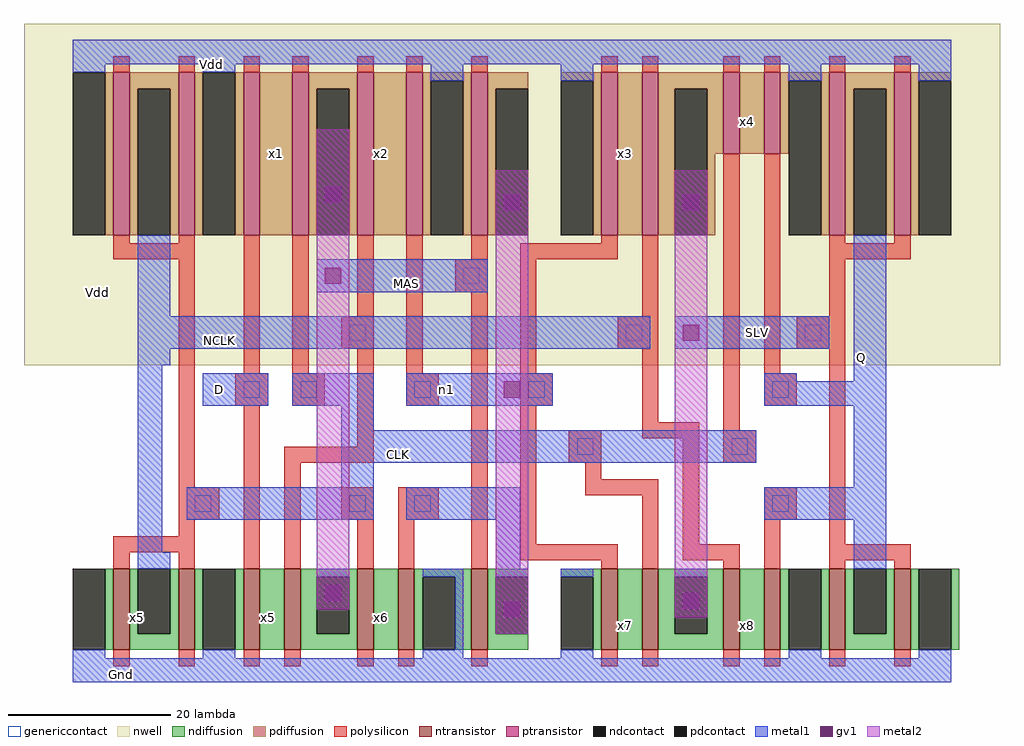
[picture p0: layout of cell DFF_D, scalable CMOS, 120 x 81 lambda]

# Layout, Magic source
magic
tech scmos
<< nwell >>
rect -12 39 108 81
<< ntransistor >>
rect -1 4 1 14
rect 7 4 9 14
rect 15 4 17 14
rect 20 4 22 14
rect 29 4 31 14
rect 34 4 36 14
rect 43 4 45 14
rect 59 4 61 14
rect 64 4 66 14
rect 74 4 76 14
rect 79 4 81 14
rect 87 4 89 14
rect 95 4 97 14
<< ptransistor >>
rect -1 55 1 75
rect 7 55 9 75
rect 15 55 17 75
rect 21 55 23 75
rect 29 55 31 75
rect 35 55 37 75
rect 43 55 45 75
rect 59 55 61 75
rect 64 55 66 75
rect 74 65 76 75
rect 79 65 81 75
rect 87 55 89 75
rect 95 55 97 75
<< ndiffusion >>
rect -2 4 -1 14
rect 1 6 2 14
rect 6 6 7 14
rect 1 4 7 6
rect 9 4 10 14
rect 14 4 15 14
rect 17 4 20 14
rect 22 13 29 14
rect 22 6 24 13
rect 28 6 29 13
rect 22 4 29 6
rect 31 4 34 14
rect 36 13 43 14
rect 36 4 37 13
rect 41 4 43 13
rect 45 13 50 14
rect 45 6 46 13
rect 45 4 50 6
rect 54 13 59 14
rect 58 4 59 13
rect 61 4 64 14
rect 66 13 74 14
rect 66 6 68 13
rect 72 6 74 13
rect 66 4 74 6
rect 76 4 79 14
rect 81 4 82 14
rect 86 4 87 14
rect 89 6 90 14
rect 94 6 95 14
rect 89 4 95 6
rect 97 4 98 14
rect 102 4 103 14
<< pdiffusion >>
rect -2 55 -1 75
rect 1 73 7 75
rect 1 55 2 73
rect 6 55 7 73
rect 9 55 10 75
rect 14 55 15 75
rect 17 55 21 75
rect 23 73 29 75
rect 23 55 24 73
rect 28 55 29 73
rect 31 55 35 75
rect 37 74 43 75
rect 37 55 38 74
rect 42 55 43 74
rect 45 73 50 75
rect 45 55 46 73
rect 54 74 59 75
rect 58 55 59 74
rect 61 55 64 75
rect 66 73 74 75
rect 66 55 68 73
rect 72 65 74 73
rect 76 65 79 75
rect 81 74 87 75
rect 81 65 82 74
rect 72 55 73 65
rect 86 55 87 74
rect 89 73 95 75
rect 89 55 90 73
rect 94 55 95 73
rect 97 74 102 75
rect 97 55 98 74
<< ndcontact >>
rect -6 4 -2 14
rect 2 6 6 14
rect 10 4 14 14
rect 24 6 28 13
rect 37 4 41 13
rect 46 6 50 13
rect 54 4 58 13
rect 68 6 72 13
rect 82 4 86 14
rect 90 6 94 14
rect 98 4 102 14
<< pdcontact >>
rect -6 55 -2 75
rect 2 55 6 73
rect 10 55 14 75
rect 24 55 28 73
rect 38 55 42 74
rect 46 55 50 73
rect 54 55 58 74
rect 68 55 72 73
rect 82 55 86 74
rect 90 55 94 73
rect 98 55 102 74
<< polysilicon >>
rect -1 75 1 77
rect 7 75 9 77
rect 15 75 17 77
rect 21 75 23 77
rect 29 75 31 77
rect 35 75 37 77
rect 43 75 45 77
rect 59 75 61 77
rect 64 75 66 77
rect 74 75 76 77
rect 79 75 81 77
rect 87 75 89 77
rect 95 75 97 77
rect -1 54 1 55
rect 7 54 9 55
rect -1 52 9 54
rect 7 24 9 52
rect 15 38 17 55
rect 21 38 23 55
rect 29 45 31 55
rect 27 41 31 45
rect 14 34 18 38
rect 21 34 25 38
rect 7 20 12 24
rect 7 18 9 20
rect -1 16 9 18
rect -1 14 1 16
rect 7 14 9 16
rect 15 14 17 34
rect 29 29 31 41
rect 35 38 37 55
rect 43 52 45 55
rect 59 54 61 55
rect 41 48 45 52
rect 35 34 39 38
rect 20 27 31 29
rect 20 14 22 27
rect 27 20 31 24
rect 29 14 31 20
rect 34 20 39 24
rect 34 14 36 20
rect 43 14 45 48
rect 49 52 61 54
rect 49 38 51 52
rect 64 45 66 55
rect 61 41 66 45
rect 49 34 53 38
rect 49 17 51 34
rect 64 32 66 41
rect 55 27 59 31
rect 64 30 71 32
rect 57 25 59 27
rect 57 23 66 25
rect 49 15 61 17
rect 59 14 61 15
rect 64 14 66 23
rect 69 17 71 30
rect 74 31 76 65
rect 79 38 81 65
rect 87 54 89 55
rect 95 54 97 55
rect 87 52 97 54
rect 87 45 89 52
rect 83 41 89 45
rect 79 34 83 38
rect 74 27 78 31
rect 79 20 83 24
rect 69 15 76 17
rect 74 14 76 15
rect 79 14 81 20
rect 87 17 89 41
rect 87 15 97 17
rect 87 14 89 15
rect 95 14 97 15
rect -1 2 1 4
rect 7 2 9 4
rect 15 2 17 4
rect 20 2 22 4
rect 29 2 31 4
rect 34 2 36 4
rect 43 2 45 4
rect 59 2 61 4
rect 64 2 66 4
rect 74 2 76 4
rect 79 2 81 4
rect 87 2 89 4
rect 95 2 97 4
<< genericcontact >>
rect 42 49 44 51
rect 28 42 30 44
rect 62 42 64 44
rect 84 42 86 44
rect 15 35 17 37
rect 22 35 24 37
rect 36 35 38 37
rect 50 35 52 37
rect 80 35 82 37
rect 56 28 58 30
rect 75 28 77 30
rect 9 21 11 23
rect 28 21 30 23
rect 36 21 38 23
rect 80 21 82 23
<< metal1 >>
rect -6 76 102 79
rect -6 75 -2 76
rect 10 75 14 76
rect 38 74 42 76
rect 54 74 58 76
rect 82 74 86 76
rect 98 74 102 76
rect 2 45 6 55
rect 24 48 45 52
rect 2 41 65 45
rect 68 41 87 45
rect 2 39 6 41
rect 2 16 5 39
rect 10 34 18 38
rect 21 34 31 38
rect 35 34 53 38
rect 79 37 83 38
rect 90 37 94 55
rect 79 34 94 37
rect 27 31 31 34
rect 27 27 78 31
rect 27 24 31 27
rect 90 24 94 34
rect 8 20 31 24
rect 35 20 49 24
rect 79 20 94 24
rect 2 14 6 16
rect 46 14 49 20
rect 90 14 94 20
rect -6 3 -2 4
rect 24 13 28 14
rect 37 13 42 14
rect 10 3 14 4
rect 41 4 42 13
rect 46 13 50 14
rect 54 13 58 14
rect 37 3 42 4
rect 68 13 72 14
rect 54 3 58 4
rect 82 3 86 4
rect 98 3 102 4
rect -6 0 102 3
<< metal2 >>
rect 24 9 28 68
rect 46 6 50 63
rect 68 8 72 63
<< gv1 >>
rect 25 59 27 61
rect 47 58 49 60
rect 69 58 71 60
rect 25 49 27 51
rect 69 42 71 44
rect 47 35 49 37
rect 25 10 27 12
rect 47 8 49 10
rect 69 9 71 11
<< labels >>
rlabel ndiffusion s 18 8 18 8 2 x5
rlabel ndiffusion s 32 8 32 8 2 x6
rlabel ndiffusion s 62 7 62 7 2 x7
rlabel ndiffusion s 77 7 77 7 2 x8
rlabel ndiffusion s 2 8 2 8 2 x5
rlabel metal1 s 34 28 34 28 2 CLK
port 3 ne
rlabel metal1 s 12 36 12 36 2 D
port 2 ne
rlabel metal1 91 40 91 40 2 Q
port 1 ne
rlabel metal1 12 42 12 42 2 NCLK
rlabel metal1 s 35 49 35 49 2 MAS
rlabel metal1 s 78 43 78 43 2 SLV
rlabel metal1 s 40 36 40 36 2 n1
rlabel pdiffusion s 19 65 19 65 2 x1
rlabel pdiffusion s 32 65 32 65 2 x2
rlabel pdiffusion s 62 65 62 65 2 x3
rlabel pdiffusion s 77 69 77 69 2 x4
rlabel metal1 11 76 11 76 2 Vdd
port 2 ne
rlabel nwell -3 48 -3 48 2 Vdd
rlabel metal1 0 1 0 1 2 Gnd
port 3 ne
<< end >>
